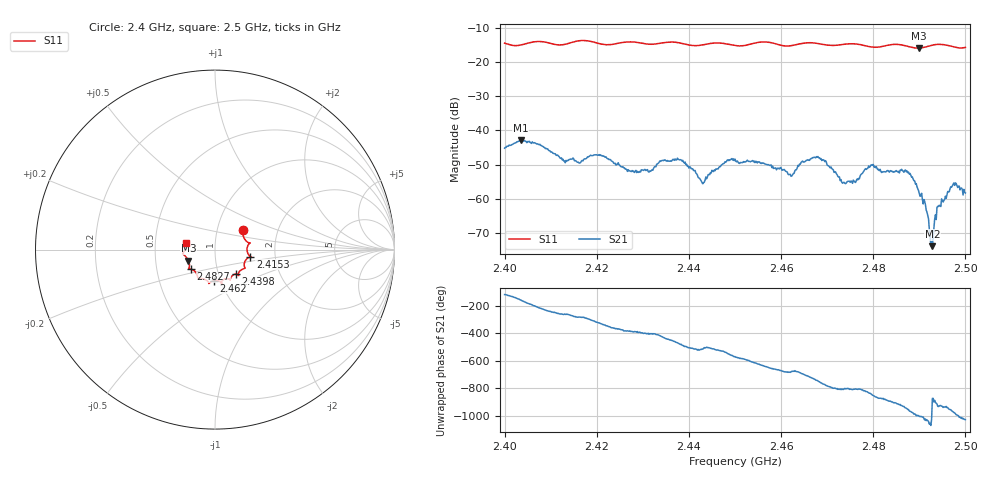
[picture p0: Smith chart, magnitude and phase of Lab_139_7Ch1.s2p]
# Hz S RI R 50
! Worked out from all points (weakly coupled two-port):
!   601 points, 2.4 GHz to 2.5 GHz, reference 50 ohm
!   highest |S21| = -42.89 dB at 2.4035 GHz (marker M1); lowest = -73.9 dB at 2.4928 GHz (marker M2)
!   lowest |S11| = -15.9 dB at 2.4898 GHz (marker M3), VSWR 1.38, Z = 36.9 - j4.63 ohm
!   |S11| at or under -10 dB: start of sweep to end of sweep
!   S12 and S22 are empty: the file has one direction only
!   S11 on the Smith chart (normalised r, x): 2.4 GHz: 1.33, +0.30; 2.4153 GHz: 1.48, -0.12; 2.4398 GHz: 1.21, -0.34; 2.462 GHz: 0.93, -0.33; 2.4827 GHz: 0.75, -0.17; 2.5 GHz: 0.72, +0.06
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2.4e9  0.1557 0.1072  -0.00244 -0.00494  0 0  0 0
2.4035e9  0.1698 0.0525  -0.00652 -0.00299  0 0  0 0
2.415333e9  0.1963 -0.039  0.000407 0.0036  0 0  0 0
2.416667e9  0.2023 -0.0428  0.000804 0.00346  0 0  0 0
2.421e9  0.1755 -0.0532  0.00368 0.00214  0 0  0 0
2.428667e9  0.164 -0.1046  0.00209 -0.00122  0 0  0 0
2.433333e9  0.1306 -0.1334  0.00213 -0.00253  0 0  0 0
2.439833e9  0.1157 -0.136  -0.00237 -0.00183  0 0  0 0
2.443e9  0.089 -0.1549  -0.00149 -0.000726  0 0  0 0
2.45e9  0.0653 -0.1622  -0.00335 0.0018  0 0  0 0
2.462e9  -0.00475 -0.173  0.00183 0.00137  0 0  0 0
2.466667e9  -0.0342 -0.1886  0.00389 -0.000276  0 0  0 0
2.473667e9  -0.0864 -0.1606  0.000168 -0.00173  0 0  0 0
2.4795e9  -0.1063 -0.1284  -0.00152 -0.00271  0 0  0 0
2.482667e9  -0.135 -0.109  -0.00235 -0.000768  0 0  0 0
2.483333e9  -0.1402 -0.1086  -0.00251 -0.00034  0 0  0 0
2.4875e9  -0.1426 -0.0924  -0.00142 0.00194  0 0  0 0
2.489833e9  -0.1477 -0.0612  0.000183 0.0013  0 0  0 0
2.492833e9  -0.1745 -0.028  -0.00018 -9.31e-05  0 0  0 0
2.494333e9  -0.1806 -0.0216  -0.000711 0.000376  0 0  0 0
2.497e9  -0.1696 -0.00765  -0.000686 0.00131  0 0  0 0
2.5e9  -0.1593 0.0384  0.000739 0.000968  0 0  0 0
